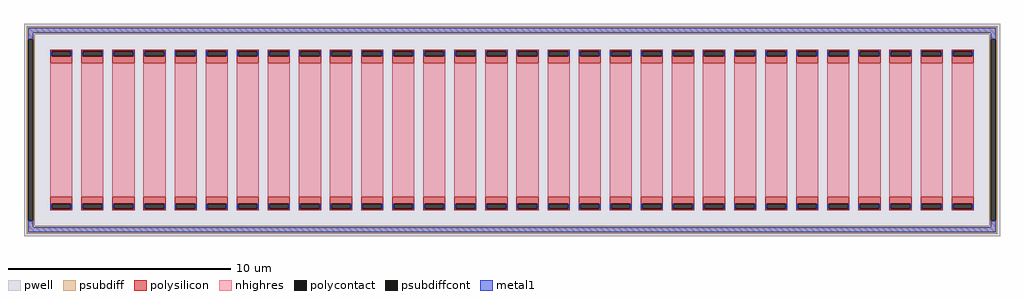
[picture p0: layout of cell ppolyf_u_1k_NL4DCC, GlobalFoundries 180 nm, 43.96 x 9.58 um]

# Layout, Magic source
magic
tech gf180mcuD
magscale 1 10
<< pwell >>
rect -4396 -958 4396 958
<< psubdiff >>
rect -4372 862 4372 934
rect -4372 818 -4300 862
rect -4372 -818 -4359 818
rect -4313 -818 -4300 818
rect 4300 818 4372 862
rect -4372 -862 -4300 -818
rect 4300 -818 4313 818
rect 4359 -818 4372 818
rect 4300 -862 4372 -818
rect -4372 -934 4372 -862
<< psubdiffcont >>
rect -4359 -818 -4313 818
rect 4313 -818 4359 818
<< polysilicon >>
rect -4160 709 -3960 722
rect -4160 663 -4147 709
rect -3973 663 -3960 709
rect -4160 600 -3960 663
rect -4160 -663 -3960 -600
rect -4160 -709 -4147 -663
rect -3973 -709 -3960 -663
rect -4160 -722 -3960 -709
rect -3880 709 -3680 722
rect -3880 663 -3867 709
rect -3693 663 -3680 709
rect -3880 600 -3680 663
rect -3880 -663 -3680 -600
rect -3880 -709 -3867 -663
rect -3693 -709 -3680 -663
rect -3880 -722 -3680 -709
rect -3600 709 -3400 722
rect -3600 663 -3587 709
rect -3413 663 -3400 709
rect -3600 600 -3400 663
rect -3600 -663 -3400 -600
rect -3600 -709 -3587 -663
rect -3413 -709 -3400 -663
rect -3600 -722 -3400 -709
rect -3320 709 -3120 722
rect -3320 663 -3307 709
rect -3133 663 -3120 709
rect -3320 600 -3120 663
rect -3320 -663 -3120 -600
rect -3320 -709 -3307 -663
rect -3133 -709 -3120 -663
rect -3320 -722 -3120 -709
rect -3040 709 -2840 722
rect -3040 663 -3027 709
rect -2853 663 -2840 709
rect -3040 600 -2840 663
rect -3040 -663 -2840 -600
rect -3040 -709 -3027 -663
rect -2853 -709 -2840 -663
rect -3040 -722 -2840 -709
rect -2760 709 -2560 722
rect -2760 663 -2747 709
rect -2573 663 -2560 709
rect -2760 600 -2560 663
rect -2760 -663 -2560 -600
rect -2760 -709 -2747 -663
rect -2573 -709 -2560 -663
rect -2760 -722 -2560 -709
rect -2480 709 -2280 722
rect -2480 663 -2467 709
rect -2293 663 -2280 709
rect -2480 600 -2280 663
rect -2480 -663 -2280 -600
rect -2480 -709 -2467 -663
rect -2293 -709 -2280 -663
rect -2480 -722 -2280 -709
rect -2200 709 -2000 722
rect -2200 663 -2187 709
rect -2013 663 -2000 709
rect -2200 600 -2000 663
rect -2200 -663 -2000 -600
rect -2200 -709 -2187 -663
rect -2013 -709 -2000 -663
rect -2200 -722 -2000 -709
rect -1920 709 -1720 722
rect -1920 663 -1907 709
rect -1733 663 -1720 709
rect -1920 600 -1720 663
rect -1920 -663 -1720 -600
rect -1920 -709 -1907 -663
rect -1733 -709 -1720 -663
rect -1920 -722 -1720 -709
rect -1640 709 -1440 722
rect -1640 663 -1627 709
rect -1453 663 -1440 709
rect -1640 600 -1440 663
rect -1640 -663 -1440 -600
rect -1640 -709 -1627 -663
rect -1453 -709 -1440 -663
rect -1640 -722 -1440 -709
rect -1360 709 -1160 722
rect -1360 663 -1347 709
rect -1173 663 -1160 709
rect -1360 600 -1160 663
rect -1360 -663 -1160 -600
rect -1360 -709 -1347 -663
rect -1173 -709 -1160 -663
rect -1360 -722 -1160 -709
rect -1080 709 -880 722
rect -1080 663 -1067 709
rect -893 663 -880 709
rect -1080 600 -880 663
rect -1080 -663 -880 -600
rect -1080 -709 -1067 -663
rect -893 -709 -880 -663
rect -1080 -722 -880 -709
rect -800 709 -600 722
rect -800 663 -787 709
rect -613 663 -600 709
rect -800 600 -600 663
rect -800 -663 -600 -600
rect -800 -709 -787 -663
rect -613 -709 -600 -663
rect -800 -722 -600 -709
rect -520 709 -320 722
rect -520 663 -507 709
rect -333 663 -320 709
rect -520 600 -320 663
rect -520 -663 -320 -600
rect -520 -709 -507 -663
rect -333 -709 -320 -663
rect -520 -722 -320 -709
rect -240 709 -40 722
rect -240 663 -227 709
rect -53 663 -40 709
rect -240 600 -40 663
rect -240 -663 -40 -600
rect -240 -709 -227 -663
rect -53 -709 -40 -663
rect -240 -722 -40 -709
rect 40 709 240 722
rect 40 663 53 709
rect 227 663 240 709
rect 40 600 240 663
rect 40 -663 240 -600
rect 40 -709 53 -663
rect 227 -709 240 -663
rect 40 -722 240 -709
rect 320 709 520 722
rect 320 663 333 709
rect 507 663 520 709
rect 320 600 520 663
rect 320 -663 520 -600
rect 320 -709 333 -663
rect 507 -709 520 -663
rect 320 -722 520 -709
rect 600 709 800 722
rect 600 663 613 709
rect 787 663 800 709
rect 600 600 800 663
rect 600 -663 800 -600
rect 600 -709 613 -663
rect 787 -709 800 -663
rect 600 -722 800 -709
rect 880 709 1080 722
rect 880 663 893 709
rect 1067 663 1080 709
rect 880 600 1080 663
rect 880 -663 1080 -600
rect 880 -709 893 -663
rect 1067 -709 1080 -663
rect 880 -722 1080 -709
rect 1160 709 1360 722
rect 1160 663 1173 709
rect 1347 663 1360 709
rect 1160 600 1360 663
rect 1160 -663 1360 -600
rect 1160 -709 1173 -663
rect 1347 -709 1360 -663
rect 1160 -722 1360 -709
rect 1440 709 1640 722
rect 1440 663 1453 709
rect 1627 663 1640 709
rect 1440 600 1640 663
rect 1440 -663 1640 -600
rect 1440 -709 1453 -663
rect 1627 -709 1640 -663
rect 1440 -722 1640 -709
rect 1720 709 1920 722
rect 1720 663 1733 709
rect 1907 663 1920 709
rect 1720 600 1920 663
rect 1720 -663 1920 -600
rect 1720 -709 1733 -663
rect 1907 -709 1920 -663
rect 1720 -722 1920 -709
rect 2000 709 2200 722
rect 2000 663 2013 709
rect 2187 663 2200 709
rect 2000 600 2200 663
rect 2000 -663 2200 -600
rect 2000 -709 2013 -663
rect 2187 -709 2200 -663
rect 2000 -722 2200 -709
rect 2280 709 2480 722
rect 2280 663 2293 709
rect 2467 663 2480 709
rect 2280 600 2480 663
rect 2280 -663 2480 -600
rect 2280 -709 2293 -663
rect 2467 -709 2480 -663
rect 2280 -722 2480 -709
rect 2560 709 2760 722
rect 2560 663 2573 709
rect 2747 663 2760 709
rect 2560 600 2760 663
rect 2560 -663 2760 -600
rect 2560 -709 2573 -663
rect 2747 -709 2760 -663
rect 2560 -722 2760 -709
rect 2840 709 3040 722
rect 2840 663 2853 709
rect 3027 663 3040 709
rect 2840 600 3040 663
rect 2840 -663 3040 -600
rect 2840 -709 2853 -663
rect 3027 -709 3040 -663
rect 2840 -722 3040 -709
rect 3120 709 3320 722
rect 3120 663 3133 709
rect 3307 663 3320 709
rect 3120 600 3320 663
rect 3120 -663 3320 -600
rect 3120 -709 3133 -663
rect 3307 -709 3320 -663
rect 3120 -722 3320 -709
rect 3400 709 3600 722
rect 3400 663 3413 709
rect 3587 663 3600 709
rect 3400 600 3600 663
rect 3400 -663 3600 -600
rect 3400 -709 3413 -663
rect 3587 -709 3600 -663
rect 3400 -722 3600 -709
rect 3680 709 3880 722
rect 3680 663 3693 709
rect 3867 663 3880 709
rect 3680 600 3880 663
rect 3680 -663 3880 -600
rect 3680 -709 3693 -663
rect 3867 -709 3880 -663
rect 3680 -722 3880 -709
rect 3960 709 4160 722
rect 3960 663 3973 709
rect 4147 663 4160 709
rect 3960 600 4160 663
rect 3960 -663 4160 -600
rect 3960 -709 3973 -663
rect 4147 -709 4160 -663
rect 3960 -722 4160 -709
<< polycontact >>
rect -4147 663 -3973 709
rect -4147 -709 -3973 -663
rect -3867 663 -3693 709
rect -3867 -709 -3693 -663
rect -3587 663 -3413 709
rect -3587 -709 -3413 -663
rect -3307 663 -3133 709
rect -3307 -709 -3133 -663
rect -3027 663 -2853 709
rect -3027 -709 -2853 -663
rect -2747 663 -2573 709
rect -2747 -709 -2573 -663
rect -2467 663 -2293 709
rect -2467 -709 -2293 -663
rect -2187 663 -2013 709
rect -2187 -709 -2013 -663
rect -1907 663 -1733 709
rect -1907 -709 -1733 -663
rect -1627 663 -1453 709
rect -1627 -709 -1453 -663
rect -1347 663 -1173 709
rect -1347 -709 -1173 -663
rect -1067 663 -893 709
rect -1067 -709 -893 -663
rect -787 663 -613 709
rect -787 -709 -613 -663
rect -507 663 -333 709
rect -507 -709 -333 -663
rect -227 663 -53 709
rect -227 -709 -53 -663
rect 53 663 227 709
rect 53 -709 227 -663
rect 333 663 507 709
rect 333 -709 507 -663
rect 613 663 787 709
rect 613 -709 787 -663
rect 893 663 1067 709
rect 893 -709 1067 -663
rect 1173 663 1347 709
rect 1173 -709 1347 -663
rect 1453 663 1627 709
rect 1453 -709 1627 -663
rect 1733 663 1907 709
rect 1733 -709 1907 -663
rect 2013 663 2187 709
rect 2013 -709 2187 -663
rect 2293 663 2467 709
rect 2293 -709 2467 -663
rect 2573 663 2747 709
rect 2573 -709 2747 -663
rect 2853 663 3027 709
rect 2853 -709 3027 -663
rect 3133 663 3307 709
rect 3133 -709 3307 -663
rect 3413 663 3587 709
rect 3413 -709 3587 -663
rect 3693 663 3867 709
rect 3693 -709 3867 -663
rect 3973 663 4147 709
rect 3973 -709 4147 -663
<< nhighres >>
rect -4160 -600 -3960 600
rect -3880 -600 -3680 600
rect -3600 -600 -3400 600
rect -3320 -600 -3120 600
rect -3040 -600 -2840 600
rect -2760 -600 -2560 600
rect -2480 -600 -2280 600
rect -2200 -600 -2000 600
rect -1920 -600 -1720 600
rect -1640 -600 -1440 600
rect -1360 -600 -1160 600
rect -1080 -600 -880 600
rect -800 -600 -600 600
rect -520 -600 -320 600
rect -240 -600 -40 600
rect 40 -600 240 600
rect 320 -600 520 600
rect 600 -600 800 600
rect 880 -600 1080 600
rect 1160 -600 1360 600
rect 1440 -600 1640 600
rect 1720 -600 1920 600
rect 2000 -600 2200 600
rect 2280 -600 2480 600
rect 2560 -600 2760 600
rect 2840 -600 3040 600
rect 3120 -600 3320 600
rect 3400 -600 3600 600
rect 3680 -600 3880 600
rect 3960 -600 4160 600
<< metal1 >>
rect -4359 875 4359 921
rect -4359 818 -4313 875
rect 4313 818 4359 875
rect -4158 663 -4147 709
rect -3973 663 -3962 709
rect -3878 663 -3867 709
rect -3693 663 -3682 709
rect -3598 663 -3587 709
rect -3413 663 -3402 709
rect -3318 663 -3307 709
rect -3133 663 -3122 709
rect -3038 663 -3027 709
rect -2853 663 -2842 709
rect -2758 663 -2747 709
rect -2573 663 -2562 709
rect -2478 663 -2467 709
rect -2293 663 -2282 709
rect -2198 663 -2187 709
rect -2013 663 -2002 709
rect -1918 663 -1907 709
rect -1733 663 -1722 709
rect -1638 663 -1627 709
rect -1453 663 -1442 709
rect -1358 663 -1347 709
rect -1173 663 -1162 709
rect -1078 663 -1067 709
rect -893 663 -882 709
rect -798 663 -787 709
rect -613 663 -602 709
rect -518 663 -507 709
rect -333 663 -322 709
rect -238 663 -227 709
rect -53 663 -42 709
rect 42 663 53 709
rect 227 663 238 709
rect 322 663 333 709
rect 507 663 518 709
rect 602 663 613 709
rect 787 663 798 709
rect 882 663 893 709
rect 1067 663 1078 709
rect 1162 663 1173 709
rect 1347 663 1358 709
rect 1442 663 1453 709
rect 1627 663 1638 709
rect 1722 663 1733 709
rect 1907 663 1918 709
rect 2002 663 2013 709
rect 2187 663 2198 709
rect 2282 663 2293 709
rect 2467 663 2478 709
rect 2562 663 2573 709
rect 2747 663 2758 709
rect 2842 663 2853 709
rect 3027 663 3038 709
rect 3122 663 3133 709
rect 3307 663 3318 709
rect 3402 663 3413 709
rect 3587 663 3598 709
rect 3682 663 3693 709
rect 3867 663 3878 709
rect 3962 663 3973 709
rect 4147 663 4158 709
rect -4158 -709 -4147 -663
rect -3973 -709 -3962 -663
rect -3878 -709 -3867 -663
rect -3693 -709 -3682 -663
rect -3598 -709 -3587 -663
rect -3413 -709 -3402 -663
rect -3318 -709 -3307 -663
rect -3133 -709 -3122 -663
rect -3038 -709 -3027 -663
rect -2853 -709 -2842 -663
rect -2758 -709 -2747 -663
rect -2573 -709 -2562 -663
rect -2478 -709 -2467 -663
rect -2293 -709 -2282 -663
rect -2198 -709 -2187 -663
rect -2013 -709 -2002 -663
rect -1918 -709 -1907 -663
rect -1733 -709 -1722 -663
rect -1638 -709 -1627 -663
rect -1453 -709 -1442 -663
rect -1358 -709 -1347 -663
rect -1173 -709 -1162 -663
rect -1078 -709 -1067 -663
rect -893 -709 -882 -663
rect -798 -709 -787 -663
rect -613 -709 -602 -663
rect -518 -709 -507 -663
rect -333 -709 -322 -663
rect -238 -709 -227 -663
rect -53 -709 -42 -663
rect 42 -709 53 -663
rect 227 -709 238 -663
rect 322 -709 333 -663
rect 507 -709 518 -663
rect 602 -709 613 -663
rect 787 -709 798 -663
rect 882 -709 893 -663
rect 1067 -709 1078 -663
rect 1162 -709 1173 -663
rect 1347 -709 1358 -663
rect 1442 -709 1453 -663
rect 1627 -709 1638 -663
rect 1722 -709 1733 -663
rect 1907 -709 1918 -663
rect 2002 -709 2013 -663
rect 2187 -709 2198 -663
rect 2282 -709 2293 -663
rect 2467 -709 2478 -663
rect 2562 -709 2573 -663
rect 2747 -709 2758 -663
rect 2842 -709 2853 -663
rect 3027 -709 3038 -663
rect 3122 -709 3133 -663
rect 3307 -709 3318 -663
rect 3402 -709 3413 -663
rect 3587 -709 3598 -663
rect 3682 -709 3693 -663
rect 3867 -709 3878 -663
rect 3962 -709 3973 -663
rect 4147 -709 4158 -663
rect -4359 -875 -4313 -818
rect 4313 -875 4359 -818
rect -4359 -921 4359 -875
<< properties >>
string FIXED_BBOX -4336 -898 4336 898
string gencell ppolyf_u_1k
string library gf180mcu
string parameters w 1.0 l 6.0 m 1 nx 30 wmin 1.000 lmin 1.000 class resistor rho 1000 val 6.0k dummy 0 dw 0.0 term 0.0 sterm 0.0 caplen 0.4 snake 0 glc 1 grc 1 gtc 0 gbc 0 roverlap 0 endcov 100 full_metal 1 compatible {ppolyf_u_1k ppolyf_u_1k_6p0}
<< end >>
